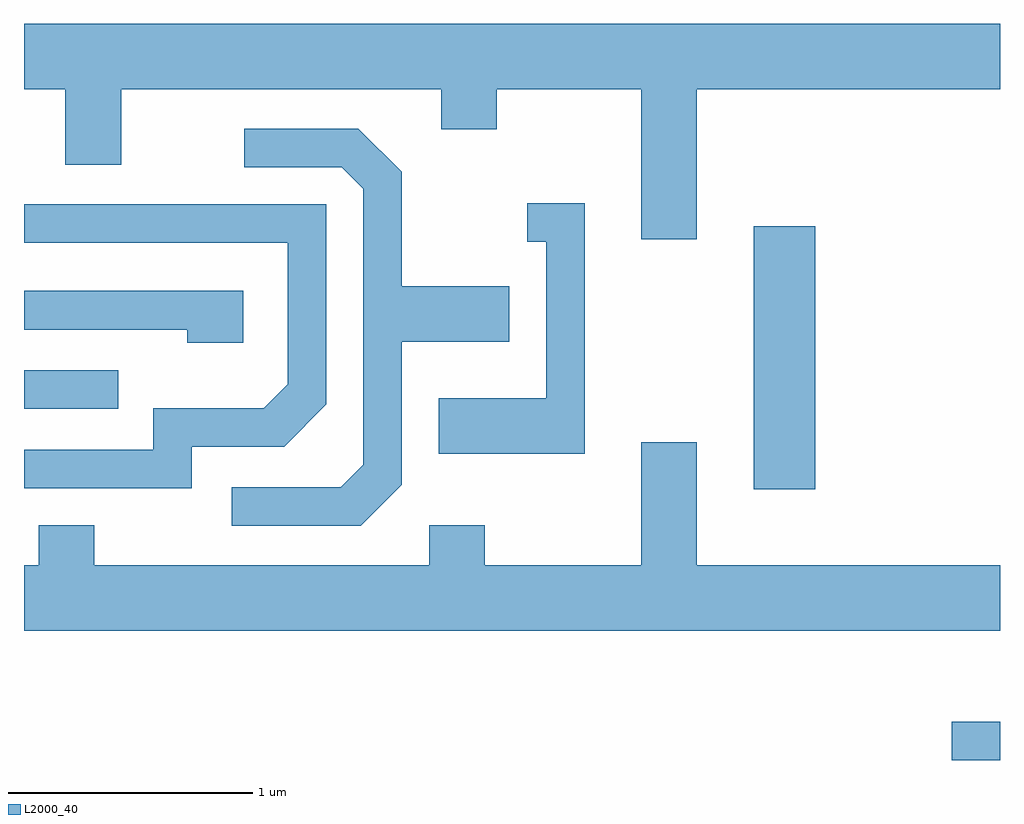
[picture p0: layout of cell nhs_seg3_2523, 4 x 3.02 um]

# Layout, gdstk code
import gdstk
lib = gdstk.Library(unit=1e-6, precision=1e-09)
def R(c, l, rs):  # rectangles x0, y0, x1, y1
    for r in rs: c.add(gdstk.rectangle(r[:2], r[2:], *l))
def P(c, l, *ps):  # polygons
    for p in ps: c.add(gdstk.Polygon(p, *l))
L2000_40 = (2000, 40)

nhs_seg3_2523 = lib.new_cell('nhs_seg3_2523')
R(nhs_seg3_2523, L2000_40, [(263.413,1129.926,263.611,1130.084), (262.601,1131.036,262.854,1132.114), (259.611,1131.366,259.998,1131.524)])
P(nhs_seg3_2523, L2000_40, [(262.369,1132.676),(263.611,1132.676),(263.611,1132.944),(259.611,1132.944),(259.611,1132.676),(259.781,1132.676),(259.781,1132.366),(260.009,1132.366),(260.009,1132.676),(261.321,1132.676),(261.321,1132.511),(261.549,1132.511),(261.549,1132.676),(262.141,1132.676),(262.141,1132.061),(262.369,1132.061)],
  [(261.159,1131.054),(261.159,1131.641),(261.599,1131.641),(261.599,1131.869),(261.159,1131.869),(261.159,1132.337),(260.981,1132.514),(260.513,1132.514),(260.513,1132.356),(260.914,1132.356),(261.001,1132.269),(261.001,1131.137),(260.909,1131.044),(260.462,1131.044),(260.462,1130.886),(260.992,1130.886)],
  [(261.909,1132.209),(261.673,1132.209),(261.673,1132.051),(261.751,1132.051),(261.751,1131.409),(261.311,1131.409),(261.311,1131.181),(261.909,1131.181)],
  [(260.299,1131.211),(260.677,1131.211),(260.849,1131.384),(260.849,1132.204),(259.611,1132.204),(259.611,1132.046),(260.691,1132.046),(260.691,1131.467),(260.594,1131.369),(260.141,1131.369),(260.141,1131.199),(259.611,1131.199),(259.611,1131.041),(260.299,1131.041)],
  [(260.509,1131.849),(259.611,1131.849),(259.611,1131.691),(260.281,1131.691),(260.281,1131.636),(260.509,1131.636)],
  [(263.611,1130.724),(262.369,1130.724),(262.369,1131.229),(262.141,1131.229),(262.141,1130.724),(261.499,1130.724),(261.499,1130.889),(261.271,1130.889),(261.271,1130.724),(259.899,1130.724),(259.899,1130.889),(259.671,1130.889),(259.671,1130.724),(259.611,1130.724),(259.611,1130.456),(263.611,1130.456)])

lib.write_gds('nhs_seg3_2523.gds')
